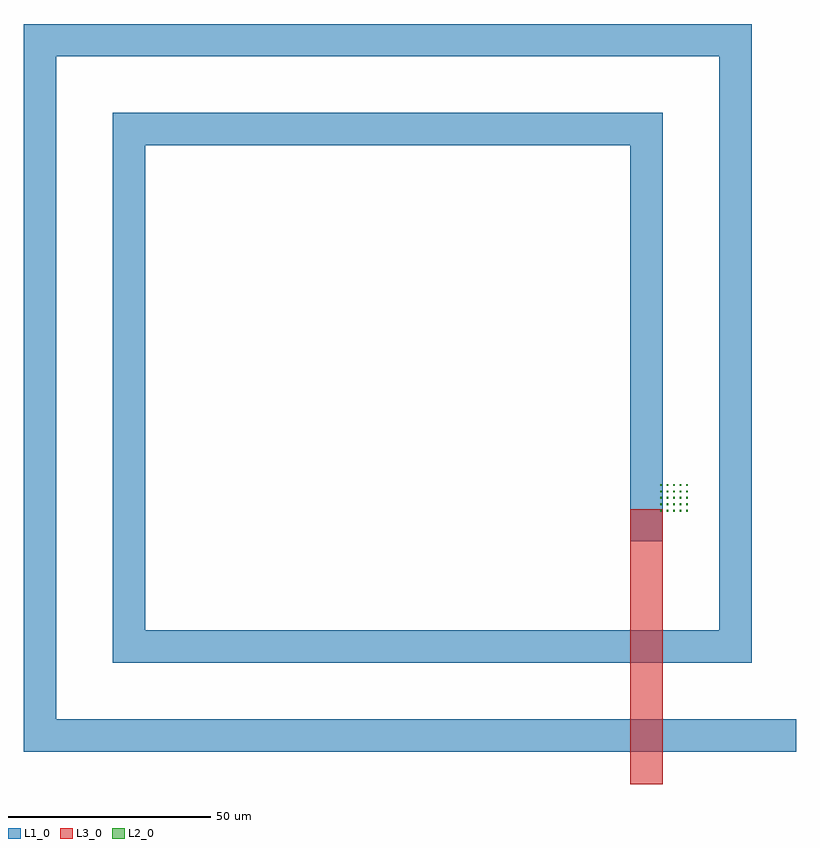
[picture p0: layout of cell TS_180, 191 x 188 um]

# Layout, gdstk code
import gdstk
lib = gdstk.Library(unit=1e-6, precision=1e-09)
def R(c, l, rs):  # rectangles x0, y0, x1, y1
    for r in rs: c.add(gdstk.rectangle(r[:2], r[2:], *l))
def A(c, l, x, y, w, h, nx, ny, dx, dy):  # array of equal rectangles
    R(c, l, [(x+i*dx, y+j*dy, x+i*dx+w, y+j*dy+h) for i in range(nx) for j in range(ny)])
def P(c, l, *ps):  # polygons
    for p in ps: c.add(gdstk.Polygon(p, *l))
L1_0 = (1, 0)
L2_0 = (2, 0)
L3_0 = (3, 0)

ts_180 = lib.new_cell('TS_180')
R(ts_180, L1_0, [(250.005,160.005,257.995,167.995)])
P(ts_180, L1_0, [(100,108),(108,116),(291,116),(291,108)],
  [(100,108),(100,288),(108,280),(108,116)],
  [(108,280),(100,288),(280,288),(272,280)],
  [(280,130),(272,138),(272,280),(280,288)],
  [(122,130),(130,138),(272,138),(280,130)],
  [(122,130),(122,266),(130,258),(130,138)],
  [(130,258),(122,266),(258,266),(250,258)],
  [(250,160),(250,258),(258,266),(258,160)])
A(ts_180, L2_0, 257.4, 167.4, 0.4, 0.4, 5, 5, 1.6, 1.6)
R(ts_180, L3_0, [(250,100,258,168), (250.005,160.005,257.995,167.995)])

lib.write_gds('TS_180.gds')
